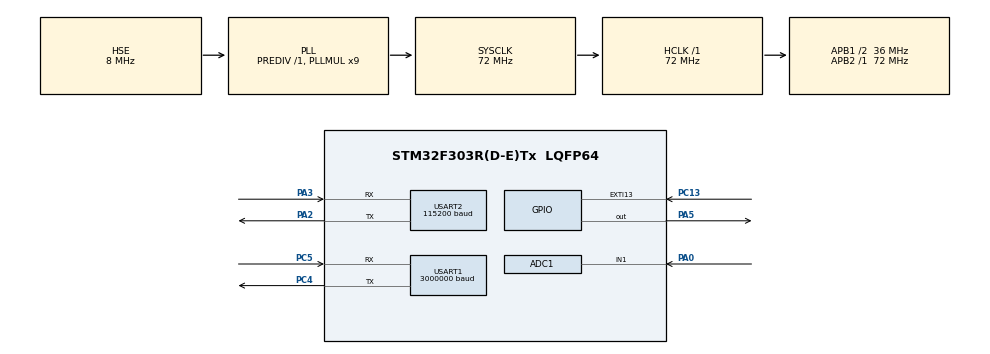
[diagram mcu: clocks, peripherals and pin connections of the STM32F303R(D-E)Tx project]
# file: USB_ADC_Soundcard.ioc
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ADC1.Channel-1\#ChannelRegularConversion=ADC_CHANNEL_1
ADC1.DMAContinuousRequests=ENABLE
ADC1.ExternalTrigConv=ADC_EXTERNALTRIGCONV_T6_TRGO
ADC1.NbrOfConversionFlag=1
ADC1.Offset-1\#ChannelRegularConversion=0
ADC1.OffsetNumber-1\#ChannelRegularConversion=ADC_OFFSET_NONE
ADC1.Rank-1\#ChannelRegularConversion=1
ADC1.SamplingTime-1\#ChannelRegularConversion=ADC_SAMPLETIME_1CYCLE_5
ADC1.master=1
Dma.ADC1.0.Direction=DMA_PERIPH_TO_MEMORY
Dma.ADC1.0.Instance=DMA1_Channel1
Dma.ADC1.0.MemDataAlignment=DMA_MDATAALIGN_HALFWORD
Dma.ADC1.0.MemInc=DMA_MINC_ENABLE
Dma.ADC1.0.Mode=DMA_CIRCULAR
Dma.ADC1.0.PeriphDataAlignment=DMA_PDATAALIGN_HALFWORD
Dma.ADC1.0.PeriphInc=DMA_PINC_DISABLE
Dma.ADC1.0.Priority=DMA_PRIORITY_LOW
Dma.Request0=ADC1
Dma.Request1=USART1_TX
Dma.Request2=USART2_TX
Dma.USART1_TX.1.Direction=DMA_MEMORY_TO_PERIPH
Dma.USART1_TX.1.Instance=DMA1_Channel4
Dma.USART1_TX.1.MemDataAlignment=DMA_MDATAALIGN_BYTE
Dma.USART1_TX.1.MemInc=DMA_MINC_ENABLE
Dma.USART1_TX.1.Mode=DMA_NORMAL
Dma.USART1_TX.1.PeriphDataAlignment=DMA_PDATAALIGN_BYTE
Dma.USART1_TX.1.PeriphInc=DMA_PINC_DISABLE
Dma.USART1_TX.1.Priority=DMA_PRIORITY_HIGH
Dma.USART2_TX.2.Direction=DMA_MEMORY_TO_PERIPH
Dma.USART2_TX.2.Instance=DMA1_Channel7
Dma.USART2_TX.2.MemDataAlignment=DMA_MDATAALIGN_BYTE
Dma.USART2_TX.2.MemInc=DMA_MINC_ENABLE
Dma.USART2_TX.2.Mode=DMA_NORMAL
Dma.USART2_TX.2.PeriphDataAlignment=DMA_PDATAALIGN_BYTE
Dma.USART2_TX.2.PeriphInc=DMA_PINC_DISABLE
Dma.USART2_TX.2.Priority=DMA_PRIORITY_HIGH
Mcu.Family=STM32F3
Mcu.Name=STM32F303R(D-E)Tx
Mcu.Package=LQFP64
NVIC.ADC1_2_IRQn=true\:0\:0\:false\:false\:true\:true\:true\:true
NVIC.DMA1_Channel1_IRQn=true\:0\:0\:false\:false\:true\:false\:true\:true
NVIC.DMA1_Channel4_IRQn=true\:0\:0\:false\:false\:true\:false\:true\:true
NVIC.DMA1_Channel7_IRQn=true\:0\:0\:false\:false\:true\:false\:true\:true
NVIC.EXTI15_10_IRQn=true\:0\:0\:false\:false\:true\:true\:true\:true
NVIC.PriorityGroup=NVIC_PRIORITYGROUP_4
NVIC.TIM6_DAC_IRQn=true\:0\:0\:false\:false\:true\:true\:true\:true
NVIC.USART1_IRQn=true\:0\:0\:false\:false\:true\:true\:true\:true
NVIC.USART2_IRQn=true\:0\:0\:false\:false\:true\:true\:true\:true
PA0.Mode=IN1-Single-Ended
PA0.Signal=ADC1_IN1
PA2.Mode=Asynchronous
PA2.Signal=USART2_TX
PA3.Mode=Asynchronous
PA3.Signal=USART2_RX
PA5.Signal=GPIO_Output
PC13.GPIO_ModeDefaultEXTI=GPIO_MODE_IT_FALLING
PC13.GPIO_PuPd=GPIO_PULLUP
PC13.Signal=GPXTI13
PC4.Mode=Asynchronous
PC4.Signal=USART1_TX
PC5.Mode=Asynchronous
PC5.Signal=USART1_RX
PF0-OSC_IN.Mode=HSE-External-Clock-Source
PF0-OSC_IN.Signal=RCC_OSC_IN
ProjectManager.HeapSize=0x200
ProjectManager.StackSize=0x400
ProjectManager.TargetToolchain=STM32CubeIDE
RCC.AHBFreq_Value=72000000
RCC.APB1CLKDivider=RCC_HCLK_DIV2
RCC.APB1Freq_Value=36000000
RCC.APB1TimFreq_Value=72000000
RCC.APB2Freq_Value=72000000
RCC.APB2TimFreq_Value=72000000
RCC.CortexFreq_Value=72000000
RCC.HCLKFreq_Value=72000000
RCC.HSE_VALUE=8000000
RCC.HSI_VALUE=8000000
RCC.LSE_VALUE=32768
RCC.PLLMUL=RCC_PLL_MUL9
RCC.PLLSourceVirtual=RCC_PLLSOURCE_HSE
RCC.PRESCALERUSB=RCC_USBCLKSOURCE_PLL_DIV1_5
RCC.SYSCLKFreq_VALUE=72000000
RCC.SYSCLKSourceVirtual=RCC_SYSCLKSOURCE_PLLCLK
RCC.USBFreq_Value=48000000
TIM6.AutoReloadPreload=TIM_AUTORELOAD_PRELOAD_ENABLE
TIM6.Period=499
TIM6.Prescaler=2
TIM6.TIM_MasterOutputTrigger=TIM_TRGO_UPDATE
USART1.BaudRate=3000000
USART1.VirtualMode-Asynchronous=VM_ASYNC
USART2.BaudRate=115200
USART2.VirtualMode-Asynchronous=VM_ASYNC
VP_TIM6_VS_ClockSourceINT.Mode=Enable_Timer
board=custom

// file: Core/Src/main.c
/* USER CODE BEGIN Header */
/**
This STM board runs 2 main pipelines-the ADC to DMA pipeline, and the DMA to USART (to ESP32S3) pieline.
The analog front end takes care of rebiasing to 1.65 volts so that the ADC can read the full swing of analog data, so the ADC is used to
digitize the analog audio. In order to sample at a proper 48khz, timer 6 is set up to trigger at 48 khz, and ADC1 is configured to make a reading at
every timer 6 update event. Every ADC reading is sent to ADCBuf via the DMA module. ADCBuf is size 96, meaning it can hold 2 full samples, where
each sample is a ms of audio data. I have DMA callbacks for when the ADCBuf is half full and completely full. When ADCBuf is half full, it is rebiased
back to 0volts +- 1 volt and copied to UsbBuf while the other half of ADCBuf is filling, and when ADCBuf is completely full, the same process takes place for
UsbBuf2. In both callbacks, after the respective UsbBuf is full, the callback initiates a DMA to USART transmission and returns. THe CPU involvement is
minimal as to prevent jitter.

The project was originally meant to be an analog audio to USB audio adapter, hence why the transmitted buffers are UsbBuf and UsbBuf2.
When my USB breakout board proved faulty, I switched to using Wifi instead of USB, but forgot to update the buffer names.
  */
/* USER CODE END Header */
#include "main.h"

/* USER CODE BEGIN Includes */
#include <uart.h>
#include <stdio.h>
#include <stdio.h>
/* USER CODE END Includes */

ADC_HandleTypeDef hadc1;
DMA_HandleTypeDef hdma_adc1;

TIM_HandleTypeDef htim6;

UART_HandleTypeDef huart1;
UART_HandleTypeDef huart2;
DMA_HandleTypeDef hdma_usart1_tx;
DMA_HandleTypeDef hdma_usart2_tx;

/* USER CODE BEGIN PV */
#define ADC_Buf_Size 96 //48 samples per ms * 2 bytes per sample = 96
uint16_t adcBuf[ADC_Buf_Size]; // store 2 full samples so can process one while the other fills
int16_t UsbBuf[48];  //this is the buffer that gets filled by the first half of the ADCBuf, it's the "ping buffer"
int16_t UsbBuf2[48]; //this is the buffer that gets filled by the second half of the ADCBuf, it's the "pong buffer"
volatile int debugCount = 0;// toggles LED ON every 250 half buffer filled callbacks
volatile int debugCount2 = 0;// toggles LED OFF every 500 full buffer filled callbacks

/* USER CODE END PV */

void SystemClock_Config(void);
static void MX_GPIO_Init(void);
static void MX_DMA_Init(void);
static void MX_USART2_UART_Init(void);
static void MX_TIM6_Init(void);
static void MX_ADC1_Init(void);
static void MX_USART1_UART_Init(void);

int main(void)
{

  /* USER CODE BEGIN 1 */
	RXNEIEInterrupt();
  /* USER CODE END 1 */

  /* MCU Configuration--------------------------------------------------------*/

  /* Reset of all peripherals, Initializes the Flash interface and the Systick. */
  HAL_Init();

  /* Configure the system clock */
  SystemClock_Config();

  /* Initialize all configured peripherals */
  MX_GPIO_Init();
  MX_DMA_Init();
  MX_USART2_UART_Init();
  MX_TIM6_Init();
  MX_ADC1_Init();
  MX_USART1_UART_Init();
  /* USER CODE BEGIN 2 */
 // ADC1->IER |= (1U<<2); //enables EOC, end of conversion, interrupts

  HAL_TIM_Base_Start(&htim6);
  HAL_ADC_Start_DMA(&hadc1, (uint32_t*)adcBuf, ADC_Buf_Size);

  /* USER CODE END 2 */

  /* Infinite loop */
  while (1)
  {

    /* USER CODE BEGIN 3 */
//while loop left empty to reduce jitter in interrupt processing and audio sampling

  }
  /* USER CODE END 3 */
}

void SystemClock_Config(void)
{
  RCC_OscInitTypeDef RCC_OscInitStruct = {0};
  RCC_ClkInitTypeDef RCC_ClkInitStruct = {0};
  RCC_PeriphCLKInitTypeDef PeriphClkInit = {0};

  /** Initializes the RCC Oscillators according to the specified parameters
  * in the RCC_OscInitTypeDef structure.
  */
  RCC_OscInitStruct.OscillatorType = RCC_OSCILLATORTYPE_HSE;
  RCC_OscInitStruct.HSEState = RCC_HSE_BYPASS;
  RCC_OscInitStruct.HSIState = RCC_HSI_ON;
  RCC_OscInitStruct.PLL.PLLState = RCC_PLL_ON;
  RCC_OscInitStruct.PLL.PLLSource = RCC_PLLSOURCE_HSE;
  RCC_OscInitStruct.PLL.PLLMUL = RCC_PLL_MUL9;
  RCC_OscInitStruct.PLL.PREDIV = RCC_PREDIV_DIV1;
  if (HAL_RCC_OscConfig(&RCC_OscInitStruct) != HAL_OK)
  {
    Error_Handler();
  }

  /** Initializes the CPU, AHB and APB buses clocks
  */
  RCC_ClkInitStruct.ClockType = RCC_CLOCKTYPE_HCLK|RCC_CLOCKTYPE_SYSCLK
                              |RCC_CLOCKTYPE_PCLK1|RCC_CLOCKTYPE_PCLK2;
  RCC_ClkInitStruct.SYSCLKSource = RCC_SYSCLKSOURCE_PLLCLK;
  RCC_ClkInitStruct.AHBCLKDivider = RCC_SYSCLK_DIV1;
  RCC_ClkInitStruct.APB1CLKDivider = RCC_HCLK_DIV2;
  RCC_ClkInitStruct.APB2CLKDivider = RCC_HCLK_DIV1;

  if (HAL_RCC_ClockConfig(&RCC_ClkInitStruct, FLASH_LATENCY_2) != HAL_OK)
  {
    Error_Handler();
  }
  PeriphClkInit.PeriphClockSelection = RCC_PERIPHCLK_USART1|RCC_PERIPHCLK_USART2
                              |RCC_PERIPHCLK_ADC12;
  PeriphClkInit.Usart1ClockSelection = RCC_USART1CLKSOURCE_PCLK2;
  PeriphClkInit.Usart2ClockSelection = RCC_USART2CLKSOURCE_PCLK1;
  PeriphClkInit.Adc12ClockSelection = RCC_ADC12PLLCLK_DIV1;
  if (HAL_RCCEx_PeriphCLKConfig(&PeriphClkInit) != HAL_OK)
  {
    Error_Handler();
  }
}

static void MX_ADC1_Init(void)
{

  ADC_MultiModeTypeDef multimode = {0};
  ADC_ChannelConfTypeDef sConfig = {0};

  /** Common config
  */
  hadc1.Instance = ADC1;
  hadc1.Init.ClockPrescaler = ADC_CLOCK_ASYNC_DIV1;
  hadc1.Init.Resolution = ADC_RESOLUTION_12B;
  hadc1.Init.ScanConvMode = ADC_SCAN_DISABLE;
  hadc1.Init.ContinuousConvMode = DISABLE;
  hadc1.Init.DiscontinuousConvMode = DISABLE;
  hadc1.Init.ExternalTrigConvEdge = ADC_EXTERNALTRIGCONVEDGE_RISING;
  hadc1.Init.ExternalTrigConv = ADC_EXTERNALTRIGCONV_T6_TRGO;
  hadc1.Init.DataAlign = ADC_DATAALIGN_RIGHT;
  hadc1.Init.NbrOfConversion = 1;
  hadc1.Init.DMAContinuousRequests = ENABLE;
  hadc1.Init.EOCSelection = ADC_EOC_SINGLE_CONV;
  hadc1.Init.LowPowerAutoWait = DISABLE;
  hadc1.Init.Overrun = ADC_OVR_DATA_OVERWRITTEN;
  if (HAL_ADC_Init(&hadc1) != HAL_OK)
  {
    Error_Handler();
  }

  /** Configure the ADC multi-mode
  */
  multimode.Mode = ADC_MODE_INDEPENDENT;
  if (HAL_ADCEx_MultiModeConfigChannel(&hadc1, &multimode) != HAL_OK)
  {
    Error_Handler();
  }

  /** Configure Regular Channel
  */
  sConfig.Channel = ADC_CHANNEL_1;
  sConfig.Rank = ADC_REGULAR_RANK_1;
  sConfig.SingleDiff = ADC_SINGLE_ENDED;
  sConfig.SamplingTime = ADC_SAMPLETIME_1CYCLE_5;
  sConfig.OffsetNumber = ADC_OFFSET_NONE;
  sConfig.Offset = 0;
  if (HAL_ADC_ConfigChannel(&hadc1, &sConfig) != HAL_OK)
  {
    Error_Handler();
  }

}

static void MX_TIM6_Init(void)
{

  TIM_MasterConfigTypeDef sMasterConfig = {0};

  htim6.Instance = TIM6;
  htim6.Init.Prescaler = 2;
  htim6.Init.CounterMode = TIM_COUNTERMODE_UP;
  htim6.Init.Period = 499;
  htim6.Init.AutoReloadPreload = TIM_AUTORELOAD_PRELOAD_ENABLE;
  if (HAL_TIM_Base_Init(&htim6) != HAL_OK)
  {
    Error_Handler();
  }
  sMasterConfig.MasterOutputTrigger = TIM_TRGO_UPDATE;
  sMasterConfig.MasterSlaveMode = TIM_MASTERSLAVEMODE_DISABLE;
  if (HAL_TIMEx_MasterConfigSynchronization(&htim6, &sMasterConfig) != HAL_OK)
  {
    Error_Handler();
  }

}

static void MX_USART1_UART_Init(void)
{

  huart1.Instance = USART1;
  huart1.Init.BaudRate = 3000000;
  huart1.Init.WordLength = UART_WORDLENGTH_8B;
  huart1.Init.StopBits = UART_STOPBITS_1;
  huart1.Init.Parity = UART_PARITY_NONE;
  huart1.Init.Mode = UART_MODE_TX_RX;
  huart1.Init.HwFlowCtl = UART_HWCONTROL_NONE;
  huart1.Init.OverSampling = UART_OVERSAMPLING_16;
  huart1.Init.OneBitSampling = UART_ONE_BIT_SAMPLE_DISABLE;
  huart1.AdvancedInit.AdvFeatureInit = UART_ADVFEATURE_NO_INIT;
  if (HAL_UART_Init(&huart1) != HAL_OK)
  {
    Error_Handler();
  }

}

static void MX_USART2_UART_Init(void)
{

  huart2.Instance = USART2;
  huart2.Init.BaudRate = 115200;
  huart2.Init.WordLength = UART_WORDLENGTH_8B;
  huart2.Init.StopBits = UART_STOPBITS_1;
  huart2.Init.Parity = UART_PARITY_NONE;
  huart2.Init.Mode = UART_MODE_TX_RX;
  huart2.Init.HwFlowCtl = UART_HWCONTROL_NONE;
  huart2.Init.OverSampling = UART_OVERSAMPLING_16;
  huart2.Init.OneBitSampling = UART_ONE_BIT_SAMPLE_DISABLE;
  huart2.AdvancedInit.AdvFeatureInit = UART_ADVFEATURE_NO_INIT;
  if (HAL_UART_Init(&huart2) != HAL_OK)
  {
    Error_Handler();
  }

}

static void MX_DMA_Init(void)
{

  /* DMA controller clock enable */
  __HAL_RCC_DMA1_CLK_ENABLE();

  /* DMA interrupt init */
  /* DMA1_Channel1_IRQn interrupt configuration */
  HAL_NVIC_SetPriority(DMA1_Channel1_IRQn, 0, 0);
  HAL_NVIC_EnableIRQ(DMA1_Channel1_IRQn);
  /* DMA1_Channel4_IRQn interrupt configuration */
  HAL_NVIC_SetPriority(DMA1_Channel4_IRQn, 0, 0);
  HAL_NVIC_EnableIRQ(DMA1_Channel4_IRQn);
  /* DMA1_Channel7_IRQn interrupt configuration */
  HAL_NVIC_SetPriority(DMA1_Channel7_IRQn, 0, 0);
  HAL_NVIC_EnableIRQ(DMA1_Channel7_IRQn);

}

static void MX_GPIO_Init(void)
{
  GPIO_InitTypeDef GPIO_InitStruct = {0};

  /* GPIO Ports Clock Enable */
  __HAL_RCC_GPIOC_CLK_ENABLE();
  __HAL_RCC_GPIOF_CLK_ENABLE();
  __HAL_RCC_GPIOA_CLK_ENABLE();

  /*Configure GPIO pin Output Level */
  HAL_GPIO_WritePin(GPIOA, GPIO_PIN_5, GPIO_PIN_RESET);

  /*Configure GPIO pin : PC13 */
  GPIO_InitStruct.Pin = GPIO_PIN_13;
  GPIO_InitStruct.Mode = GPIO_MODE_IT_FALLING;
  GPIO_InitStruct.Pull = GPIO_PULLUP;
  HAL_GPIO_Init(GPIOC, &GPIO_InitStruct);

  /*Configure GPIO pin : PA5 */
  GPIO_InitStruct.Pin = GPIO_PIN_5;
  GPIO_InitStruct.Mode = GPIO_MODE_OUTPUT_PP;
  GPIO_InitStruct.Pull = GPIO_NOPULL;
  GPIO_InitStruct.Speed = GPIO_SPEED_FREQ_LOW;
  HAL_GPIO_Init(GPIOA, &GPIO_InitStruct);

  /* EXTI interrupt init*/
  HAL_NVIC_SetPriority(EXTI15_10_IRQn, 0, 0);
  HAL_NVIC_EnableIRQ(EXTI15_10_IRQn);

}

/* USER CODE BEGIN 4 */

void HAL_ADC_ConvHalfCpltCallback(ADC_HandleTypeDef* hadc)
{
	debugCount++;
	for(int i = 0;i<48;i++)
	{
		UsbBuf[i] = adcBuf[i] -2048;  //rebias ADC readings to 0 +- 1 volt
	}

	//data ready to send

		HAL_UART_Transmit_DMA(&huart1, (uint8_t*)UsbBuf, sizeof(UsbBuf)); // sends the data over usart

	if(debugCount == 250)
 	 {
 		 GPIOA->BSRR |= (1U<<5); // debug-LED toggles on when first half of buffer filled
 		 debugCount = 0;
 	 }
}

void HAL_ADC_ConvCpltCallback(ADC_HandleTypeDef* hadc)
{
	debugCount2++;
	int j = 0;
	for(int i = 48;i<96;i++)
		{
			UsbBuf2[j] = adcBuf[i] -2048; //rebias ADC readings to 0 +- 1 volt
			j++;
		}

	//data ready to send
		HAL_UART_Transmit_DMA(&huart1, (uint8_t*)UsbBuf2, sizeof(UsbBuf2)); // sends the data over usart

	if(debugCount2 == 500)
	{
		GPIOA->BSRR |= (1U<<21); //debug-LED toggles off when second half of buffer filled
		debugCount2 = 0;
	}
}
/* USER CODE END 4 */

void Error_Handler(void)
{
  __disable_irq();
  while (1)
  {
  }
}
